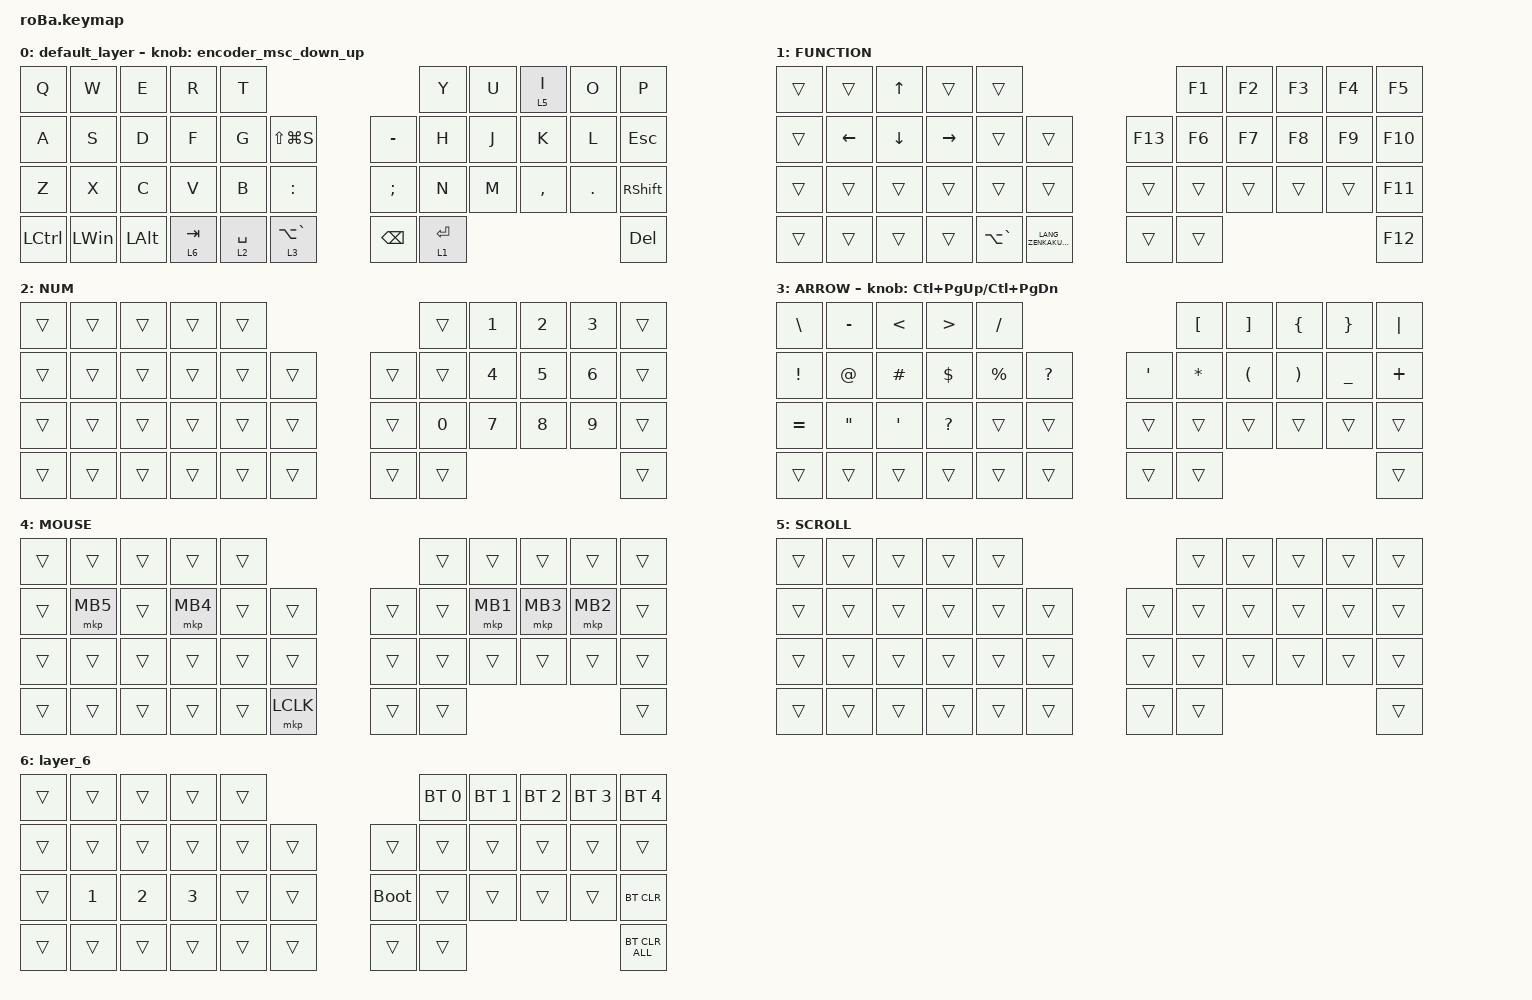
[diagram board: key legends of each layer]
#include <behaviors.dtsi>
#include <dt-bindings/zmk/bt.h>
#include <dt-bindings/zmk/keys.h>
#include <dt-bindings/zmk/pointing.h>

#define ZMK_POINTING_DEFAULT_SCRL_VAL 80

&mt {
    flavor = "balanced";
    quick-tap-ms = <0>;
};

&trackball {
    automouse-layer = <4>;
    scroll-layers = <5>;

    // arrows {
    //     layers = <3>;
    //     bindings =
    //         <&kp RIGHT_ARROW>,
    //         <&kp LEFT_ARROW>,
    //         <&kp UP_ARROW>,
    //         <&kp DOWN_ARROW>;
    //     tick = <10>;
    //     wait-ms = <5>;
    //     tap-ms = <5>;
    // };
};

/ {
    combos {
        compatible = "zmk,combos";

        tab {
            bindings = <&kp TAB>;
            key-positions = <11 12>;
        };

        shift_tab {
            bindings = <&kp LS(TAB)>;
            key-positions = <12 13>;
        };

        muhennkann {
            bindings = <&to_layer_0 INT_MUHENKAN>;
            key-positions = <11 10>;
        };

        double_quotation {
            bindings = <&kp DOUBLE_QUOTES>;
            key-positions = <20 21>;
        };

        eq {
            bindings = <&kp EQUAL>;
            key-positions = <24 25>;
        };
    };

    macros {
        to_layer_0: to_layer_0 {
            compatible = "zmk,behavior-macro-one-param";
            #binding-cells = <1>;
            bindings = <&to 0 &macro_param_1to1 &kp MACRO_PLACEHOLDER>;
            label = "TO_LAYER_0";
        };
    };

    behaviors {
        lt_to_layer_0: lt_to_layer_0 {
            compatible = "zmk,behavior-hold-tap";
            label = "LAYER_TAP_TO_0";
            bindings = <&mo>, <&to_layer_0>;

            #binding-cells = <2>;
            tapping-term-ms = <200>;
        };
        encoder_msc_down_up: encoder_msc_down_up {
            compatible = "zmk,behavior-sensor-rotate";
            label = "ENCODER_MSC_DOWN_UP";
            #sensor-binding-cells = <0>;
            bindings = <&msc SCRL_DOWN>, <&msc SCRL_UP>;
            tap-ms = <20>;
        };
    };

    keymap {
        compatible = "zmk,keymap";

        default_layer {
            bindings = <
&kp Q      &kp W         &kp E         &kp R                 &kp T                                                       &kp Y        &kp U  &lt 5 I    &kp O    &kp P
&kp A      &kp S         &kp D         &kp F                 &kp G        &kp LS(LG(S))                   &kp MINUS      &kp H        &kp J  &kp K      &kp L    &kp ESC
&kp Z      &kp X         &kp C         &kp V                 &kp B        &kp COLON                       &kp SEMICOLON  &kp N        &kp M  &kp COMMA  &kp DOT  &kp RIGHT_SHIFT
&kp LCTRL  &kp LEFT_WIN  &kp LEFT_ALT  &lt_to_layer_0 6 TAB  &lt 2 SPACE  &lt_to_layer_0 3 LA(GRAVE)      &kp BACKSPACE  &lt 1 ENTER                             &kp DEL
            >;

                   sensor-bindings = <&encoder_msc_down_up>;
        };

        FUNCTION {
            bindings = <
&trans  &trans    &kp UP_ARROW  &trans     &trans                                               &kp F1  &kp F2  &kp F3  &kp F4  &kp F5
&trans  &kp LEFT  &kp DOWN      &kp RIGHT  &trans         &trans                       &kp F13  &kp F6  &kp F7  &kp F8  &kp F9  &kp F10
&trans  &trans    &trans        &trans     &trans         &trans                       &trans   &trans  &trans  &trans  &trans  &kp F11
&trans  &trans    &trans        &trans     &kp LA(GRAVE)  &kp LANG_ZENKAKUHANKAKU      &trans   &trans                          &kp F12
            >;
        };

        NUM {
            bindings = <
&trans  &trans  &trans  &trans  &trans                      &trans        &kp NUMBER_1  &kp NUMBER_2  &kp NUMBER_3  &trans
&trans  &trans  &trans  &trans  &trans  &trans      &trans  &trans        &kp NUMBER_4  &kp NUMBER_5  &kp NUMBER_6  &trans
&trans  &trans  &trans  &trans  &trans  &trans      &trans  &kp NUMBER_0  &kp N7        &kp NUMBER_8  &kp NUMBER_9  &trans
&trans  &trans  &trans  &trans  &trans  &trans      &trans  &trans                                                  &trans
            >;
        };

        ARROW {
            bindings = <
&kp BSLH         &kp MINUS          &kp LESS_THAN     &kp GREATER_THAN  &kp FSLH                                       &kp LBKT      &kp RBKT              &kp LEFT_BRACE         &kp RIGHT_BRACE  &kp PIPE
&kp EXCLAMATION  &kp AT_SIGN        &kp HASH          &kp DOLLAR        &kp PERCENT  &kp QUESTION      &kp APOSTROPHE  &kp ASTERISK  &kp LEFT_PARENTHESIS  &kp RIGHT_PARENTHESIS  &kp UNDERSCORE   &kp PLUS
&kp EQUAL        &kp DOUBLE_QUOTES  &kp SINGLE_QUOTE  &kp QUESTION      &trans       &trans            &trans          &trans        &trans                &trans                 &trans           &trans
&trans           &trans             &trans            &trans            &trans       &trans            &trans          &trans                                                                      &trans
            >;

            sensor-bindings = <&inc_dec_kp LC(PAGE_UP) LC(PAGE_DOWN)>;
        };

        MOUSE {
            bindings = <
&trans  &trans    &trans  &trans    &trans                         &trans  &trans    &trans    &trans    &trans
&trans  &mkp MB5  &trans  &mkp MB4  &trans  &trans         &trans  &trans  &mkp MB1  &mkp MB3  &mkp MB2  &trans
&trans  &trans    &trans  &trans    &trans  &trans         &trans  &trans  &trans    &trans    &trans    &trans
&trans  &trans    &trans  &trans    &trans  &mkp LCLK      &trans  &trans                                &trans
            >;
        };

        SCROLL {
            bindings = <
&trans  &trans  &trans  &trans  &trans                      &trans  &trans  &trans  &trans  &trans
&trans  &trans  &trans  &trans  &trans  &trans      &trans  &trans  &trans  &trans  &trans  &trans
&trans  &trans  &trans  &trans  &trans  &trans      &trans  &trans  &trans  &trans  &trans  &trans
&trans  &trans  &trans  &trans  &trans  &trans      &trans  &trans                          &trans
            >;
        };

        layer_6 {
            bindings = <
&trans  &trans        &trans        &trans        &trans                           &bt BT_SEL 0  &bt BT_SEL 1  &bt BT_SEL 2  &bt BT_SEL 3  &bt BT_SEL 4
&trans  &trans        &trans        &trans        &trans  &trans      &trans       &trans        &trans        &trans        &trans        &trans
&trans  &kp NUMBER_1  &kp NUMBER_2  &kp NUMBER_3  &trans  &trans      &bootloader  &trans        &trans        &trans        &trans        &bt BT_CLR
&trans  &trans        &trans        &trans        &trans  &trans      &trans       &trans                                                  &bt BT_CLR_ALL
            >;
        };
    };
};
